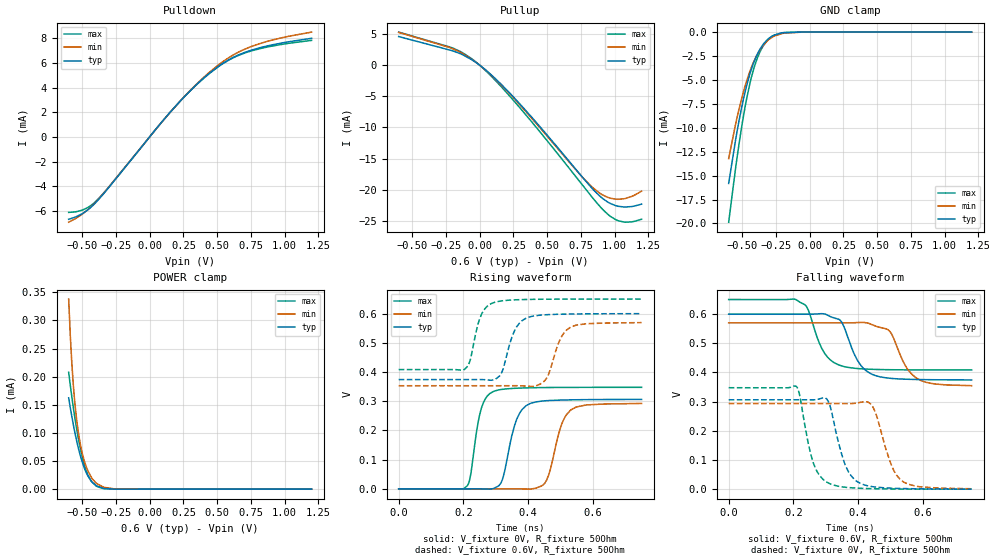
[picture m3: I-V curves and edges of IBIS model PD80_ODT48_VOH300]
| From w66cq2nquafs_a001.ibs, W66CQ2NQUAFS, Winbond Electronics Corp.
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[Model]   PD80_ODT48_VOH300
Model_type   I/O
Polarity   Non-Inverting
Enable   Active-Low
Vinl = 0.08
Vinh = 0.22
Vmeas = 0.15
Vref = 0
Cref = 0pF
Rref = 48
|   typ   min   max
C_comp   0.85pF   0.80pF   0.90pF
[Voltage Range]   0.6   0.57   0.65
[Temperature Range]   25   125   -40
[Pullup Reference]   0.6   0.57   0.65
[Pulldown Reference]   0   0   0
[Power Clamp Reference]   0.6   0.57   0.65
[GND Clamp Reference]   0   0   0
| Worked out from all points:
|   slope of the pulldown table from 0 to 0.09 V, typ, clamps not added: 74.8 ohm
|   slope of the pullup table from 0 to 0.09 V, typ, clamps not added: 54.9 ohm
|   GND clamp passes 1 mA (typ) near -0.33 V on its own axis
|   falling waveform, V_fixture 0.6V, R_fixture 50Ohm: 20-80 % time 55ps typ, 57.3ps min, 52.4ps max; typ from 0.6 V to 0.374 V
|   rising waveform, V_fixture 0V, R_fixture 50Ohm: 20-80 % time 40ps typ, 42.2ps min, 30.8ps max; typ from 0 V to 0.306 V
|   rising waveform, V_fixture 0.6V, R_fixture 50Ohm: 20-80 % time 39.6ps typ, 41.4ps min, 33.2ps max; typ from 0.374 V to 0.6 V
|   falling waveform, V_fixture 0V, R_fixture 50Ohm: 20-80 % time 47.1ps typ, 50.7ps min, 42.8ps max; typ from 0.306 V to 0 V
[Pulldown]
|   Voltage   I(typ)   I(min)   I(max)
-600mV    -6.681mA   -6.917mA   -6.124mA
-499.3mV  -6.228mA   -6.266mA   -5.943mA
-456.3mV  -5.903mA   -5.887mA   -5.72mA
-396mV    -5.288mA   -5.247mA   -5.197mA
-301.9mV  -4.096mA   -4.068mA   -4.055mA
156mV     2.046mA    2.041mA    2.042mA
339.2mV   4.155mA    4.187mA    4.142mA
508.2mV   5.706mA    5.82mA     5.682mA
625.5mV   6.474mA    6.677mA    6.443mA
762mV     7.054mA    7.358mA    6.995mA
911.1mV   7.464mA    7.854mA    7.367mA
1.2V      7.988mA    8.493mA    7.822mA
[GND Clamp]
|   Voltage   I(typ)   I(min)   I(max)
-600mV    -15.82mA   -13.22mA   -19.87mA
-546.1mV  -11.05mA   -9.456mA   -13.94mA
-499.3mV  -7.573mA   -6.699mA   -9.507mA
-474.6mV  -6.038mA   -5.468mA   -7.516mA
-434.3mV  -3.988mA   -3.787mA   -4.86mA
-411.5mV  -3.083mA   -3.016mA   -3.694mA
-368mV    -1.781mA   -1.844mA   -2.06mA
-316mV    -824uA     -956.8uA   -903.7uA
-281.4mV  -442.2uA   -578.9uA   -483.3uA
-197.6mV  -72.08uA   -133uA     -58.85uA
-59.4mV   -1.291uA   -6.676uA   -401nA
1.2V      0A         0A         0A
[Pullup]
|   Voltage   I(typ)   I(min)   I(max)
-600mV    4.593mA    5.264mA    5.311mA
-198.3mV  2.283mA    2.622mA    2.741mA
-59.4mV   887.4uA    956.1uA    1.043mA
84.45mV   -1.528mA   -1.593mA   -1.741mA
251.6mV   -5.141mA   -5.277mA   -5.679mA
443.4mV   -9.798mA   -9.967mA   -10.62mA
764.6mV   -18.08mA   -18.07mA   -19.33mA
871.6mV   -20.65mA   -20.27mA   -22.21mA
954.4mV   -22.06mA   -21.27mA   -24.04mA
1.027V    -22.67mA   -21.54mA   -24.99mA
1.124V    -22.72mA   -21.1mA    -25.18mA
1.2V      -22.32mA   -20.24mA   -24.75mA
[POWER Clamp]
|   Voltage   I(typ)   I(min)   I(max)
-600mV    162.4uA    337.9uA    207.7uA
-588.6mV  145.7uA    275.9uA    185.9uA
-576.6mV  129.1uA    223.9uA    164.2uA
-565.2mV  114.4uA    184.3uA    144.7uA
-549.3mV  95.22uA    141.4uA    119.3uA
-525.3mV  70.24uA    96.07uA    85.8uA
-499.3mV  48.1uA     63.71uA    56.5uA
-464.3mV  26.73uA    36.21uA    29.45uA
-434.3mV  14.82uA    22.05uA    14.82uA
-396.5mV  6.394uA    10.84uA    5.811uA
-263.1mV  119.4nA    573.1nA    13.86nA
1.2V      0A         0A         0A
[Ramp]
R_load = 50
|   typ   min   max
dV/dt_r 1.8378E-01/3.9750E-11   1.7550E-01/4.2151E-11   2.0862E-01/3.0779E-11
dV/dt_f 1.3532E-01/5.4986E-11   1.2917E-01/5.7287E-11   1.4483E-01/5.2244E-11
[Falling Waveform]
V_fixture = 0.6V
V_fixture_min = 0.57V
V_fixture_max = 0.65V
R_fixture = 50Ohm
C_fixture = 0F
|   Time   V(typ)   V(min)   V(max)
0s        600mV      570mV      650mV
234ps     600mV      570mV      633.2mV
287ps     601.6mV    570mV      483.5mV
340ps     582.3mV    570mV      425.7mV
397ps     442.6mV    571mV      413.6mV
430ps     401.7mV    569.2mV    411.3mV
498ps     380.1mV    540.2mV    409.4mV
547ps     376.9mV    420.5mV    409mV
580ps     375.9mV    380.5mV    408.8mV
750ps     374.5mV    354.7mV    408.6mV
[Rising Waveform]
V_fixture = 0V
V_fixture_min = 0V
V_fixture_max = 0V
R_fixture = 50Ohm
C_fixture = 0F
|   Time   V(typ)   V(min)   V(max)
0s        6.127uV    49.66uV    1.206uV
211ps     5.83uV     49.67uV    9.732mV
253ps     14.01uV    49.73uV    267mV
296ps     3.077mV    49.23uV    335.1mV
320ps     31.35mV    51.4uV     340.9mV
364ps     237.4mV    69uV       344.7mV
396ps     286.7mV    -531.4uV   345.9mV
457ps     302mV      30.51mV    347.1mV
531ps     304.9mV    269.9mV    347.5mV
750ps     306.3mV    292.5mV    347.7mV
[Rising Waveform]
V_fixture = 0.6V
V_fixture_min = 0.57V
V_fixture_max = 0.65V
R_fixture = 50Ohm
C_fixture = 0F
|   Time   V(typ)   V(min)   V(max)
0s        374.3mV    353.2mV    408.6mV
202ps     374.3mV    353.2mV    408.4mV
256ps     374.4mV    353.2mV    598.3mV
296ps     374.7mV    353.2mV    638.8mV
320ps     403.1mV    353.2mV    644mV
359ps     544.4mV    353.3mV    647.3mV
396ps     585.6mV    351.8mV    648.6mV
451ps     596mV      370.6mV    649.5mV
531ps     598.8mV    554mV      649.9mV
750ps     599.9mV    569.4mV    650mV
[Falling Waveform]
|Gnd
V_fixture = 0V
V_fixture_min = 0V
V_fixture_max = 0V
R_fixture = 50Ohm
C_fixture = 0F
|   Time   V(typ)   V(min)   V(max)
0s        306.4mV    293.4mV    347.7mV
208ps     306.4mV    293.4mV    352.9mV
261ps     306.1mV    293.4mV    91.24mV
315ps     277.2mV    293.4mV    17.33mV
359ps     85.27mV    293.2mV    6.68mV
397ps     25.68mV    295.4mV    3.488mV
445ps     8.38mV     282.1mV    1.623mV
504ps     3.286mV    77.93mV    638.7uV
533ps     2.258mV    30.16mV    387uV
750ps     143.4uV    1.407mV    -15.85uV
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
